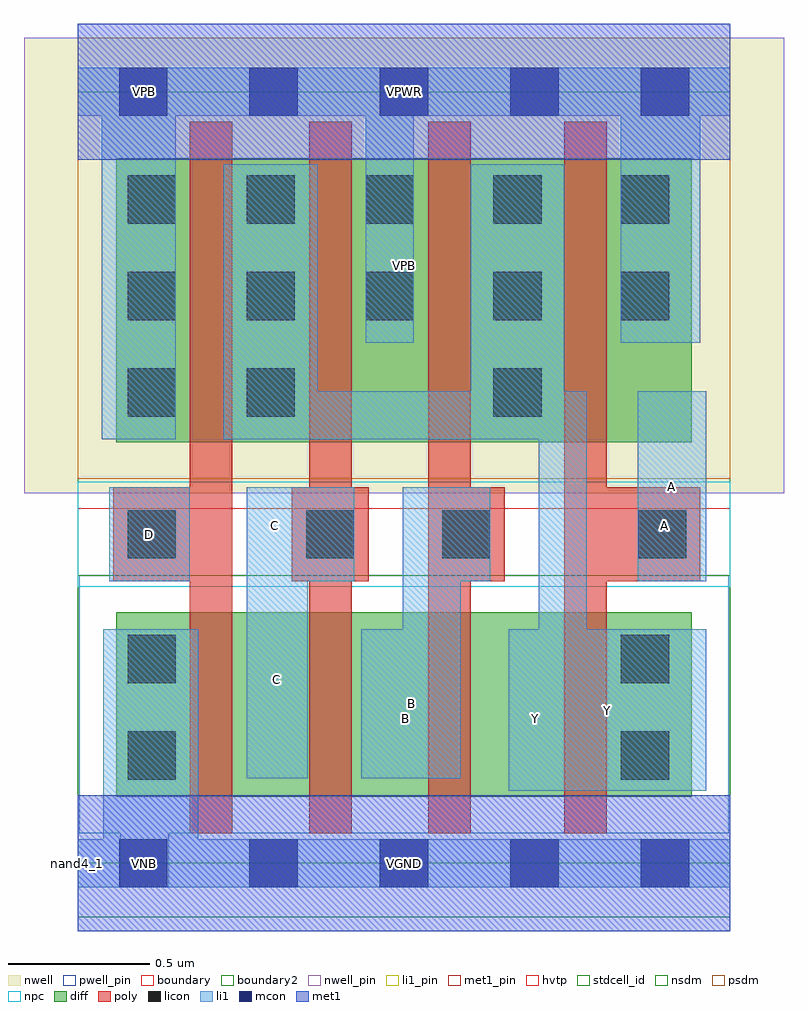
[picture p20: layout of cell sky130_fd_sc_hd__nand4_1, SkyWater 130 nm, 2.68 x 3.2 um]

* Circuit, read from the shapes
.subckt sky130_fd_sc_hd__nand4_1 A B C D VGND VNB VPB VPWR Y
XM1 n1 D VGND VNB sky130_fd_pr__nfet_01v8 w=0.65 l=0.15
XM2 n2 C n1 VNB sky130_fd_pr__nfet_01v8 w=0.65 l=0.15
XM3 n3 B n2 VNB sky130_fd_pr__nfet_01v8 w=0.65 l=0.15
XM4 Y A n3 VNB sky130_fd_pr__nfet_01v8 w=0.65 l=0.15
XM5 Y D VPWR VPB sky130_fd_pr__pfet_01v8_hvt w=1 l=0.15
XM6 VPWR C Y VPB sky130_fd_pr__pfet_01v8_hvt w=1 l=0.15
XM7 Y B VPWR VPB sky130_fd_pr__pfet_01v8_hvt w=1 l=0.15
XM8 VPWR A Y VPB sky130_fd_pr__pfet_01v8_hvt w=1 l=0.15
.ends

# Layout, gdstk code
import gdstk
lib = gdstk.Library(unit=1e-6, precision=1e-09)
def R(c, l, rs):  # rectangles x0, y0, x1, y1
    for r in rs: c.add(gdstk.rectangle(r[:2], r[2:], *l))
def A(c, l, x, y, w, h, nx, ny, dx, dy):  # array of equal rectangles
    R(c, l, [(x+i*dx, y+j*dy, x+i*dx+w, y+j*dy+h) for i in range(nx) for j in range(ny)])
def P(c, l, *ps):  # polygons
    for p in ps: c.add(gdstk.Polygon(p, *l))
nwell_pin = (64, 16)
nwell = (64, 20)
diff = (65, 20)
poly = (66, 20)
licon = (66, 44)
li1_pin = (67, 16)
li1 = (67, 20)
mcon = (67, 44)
met1_pin = (68, 16)
met1 = (68, 20)
hvtp = (78, 44)
stdcell_id = (81, 4)
nsdm = (93, 44)
psdm = (94, 20)
npc = (95, 20)
pwell_pin = (122, 16)
boundary = (235, 4)
boundary2 = (236, 0)

sky130_fd_sc_hd__nand4_1 = lib.new_cell('sky130_fd_sc_hd__nand4_1')
R(sky130_fd_sc_hd__nand4_1, nwell_pin, [(-0.19,1.305,2.49,2.91), (0.15,2.635,0.32,2.805)])
R(sky130_fd_sc_hd__nand4_1, nwell, [(-0.19,1.305,2.49,2.91)])
R(sky130_fd_sc_hd__nand4_1, diff, [(0.135,0.235,2.165,0.885), (0.135,1.485,2.165,2.485)])
P(sky130_fd_sc_hd__nand4_1, poly, [(0.815,0.105),(0.815,0.995),(0.755,0.995),(0.755,1.325),(0.815,1.325),(0.815,2.615),(0.965,2.615),(0.965,1.325),(1.025,1.325),(1.025,0.995),(0.965,0.995),(0.965,0.105)],
  [(1.715,0.105),(1.715,2.615),(1.865,2.615),(1.865,1.325),(2.195,1.325),(2.195,0.995),(1.865,0.995),(1.865,0.105)],
  [(1.235,0.105),(1.235,2.615),(1.385,2.615),(1.385,1.325),(1.505,1.325),(1.505,0.995),(1.385,0.995),(1.385,0.105)],
  [(0.395,0.105),(0.395,0.995),(0.125,0.995),(0.125,1.325),(0.395,1.325),(0.395,2.615),(0.545,2.615),(0.545,0.105)])
A(sky130_fd_sc_hd__nand4_1, licon, 1.465, 1.575, 0.17, 0.17, 1, 3, 0, 0.34)
A(sky130_fd_sc_hd__nand4_1, licon, 0.175, 1.915, 0.17, 0.17, 3, 2, 0.42, 0.34)
R(sky130_fd_sc_hd__nand4_1, licon, [(0.175,0.295,0.345,0.465), (1.915,0.295,2.085,0.465), (0.175,0.635,0.345,0.805), (1.915,0.635,2.085,0.805), (0.175,1.075,0.345,1.245), (0.805,1.075,0.975,1.245), (1.285,1.075,1.455,1.245), (1.975,1.075,2.145,1.245), (0.175,1.575,0.345,1.745), (0.595,1.575,0.765,1.745), (1.915,1.915,2.085,2.085), (1.915,2.255,2.085,2.425)])
A(sky130_fd_sc_hd__nand4_1, li1_pin, 0.61, 0.425, 0.17, 0.17, 3, 1, 0.46, 0)
R(sky130_fd_sc_hd__nand4_1, li1_pin, [(1.52,0.255,2.215,0.825), (0.595,0.3,0.81,0.995), (1,0.3,1.35,0.825), (0.61,0.765,0.78,0.935), (1.145,0.825,1.35,0.995), (1.625,0.825,1.795,1.495), (0.11,0.995,0.395,1.325), (0.595,0.995,0.975,1.325), (1.145,0.995,1.455,1.325), (1.975,0.995,2.215,1.665), (0.15,1.105,0.32,1.275), (0.61,1.105,0.78,1.275), (1.985,1.105,2.155,1.275), (1.99,1.445,2.16,1.615), (0.515,1.495,1.795,1.665), (0.515,1.665,0.845,2.465), (1.385,1.665,1.715,2.465)])
R(sky130_fd_sc_hd__nand4_1, li1, [(0.11,0.995,0.395,1.325), (1.975,0.995,2.215,1.665)])
P(sky130_fd_sc_hd__nand4_1, li1, [(1.52,0.255),(1.52,0.825),(1.625,0.825),(1.625,1.495),(0.515,1.495),(0.515,2.465),(0.845,2.465),(0.845,1.665),(1.385,1.665),(1.385,2.465),(1.715,2.465),(1.715,1.665),(1.795,1.665),(1.795,0.825),(2.215,0.825),(2.215,0.255)],
  [(0,-0.085),(0,0.085),(0.09,0.085),(0.09,0.825),(0.425,0.825),(0.425,0.085),(2.3,0.085),(2.3,-0.085)],
  [(1,0.3),(1,0.825),(1.145,0.825),(1.145,1.325),(1.455,1.325),(1.455,0.995),(1.35,0.995),(1.35,0.3)],
  [(0.085,1.495),(0.085,2.635),(0,2.635),(0,2.805),(2.3,2.805),(2.3,2.635),(2.195,2.635),(2.195,1.835),(1.915,1.835),(1.915,2.635),(1.185,2.635),(1.185,1.835),(1.015,1.835),(1.015,2.635),(0.345,2.635),(0.345,1.495)],
  [(0.595,0.3),(0.595,1.325),(0.975,1.325),(0.975,0.995),(0.81,0.995),(0.81,0.3)])
A(sky130_fd_sc_hd__nand4_1, mcon, 0.145, -0.085, 0.17, 0.17, 5, 2, 0.46, 2.72)
R(sky130_fd_sc_hd__nand4_1, met1_pin, [(0,-0.24,2.3,0.24), (0.15,-0.085,0.32,0.085), (0,2.48,2.3,2.96), (0.15,2.635,0.32,2.805)])
R(sky130_fd_sc_hd__nand4_1, met1, [(0,-0.24,2.3,0.24), (0,2.48,2.3,2.96)])
R(sky130_fd_sc_hd__nand4_1, hvtp, [(0,1.25,2.3,2.72)])
R(sky130_fd_sc_hd__nand4_1, stdcell_id, [(0,0,2.3,2.72)])
R(sky130_fd_sc_hd__nand4_1, nsdm, [(0,-0.19,2.3,1.015)])
R(sky130_fd_sc_hd__nand4_1, psdm, [(0,1.355,2.3,2.91)])
R(sky130_fd_sc_hd__nand4_1, npc, [(0,0.975,2.3,1.345)])
R(sky130_fd_sc_hd__nand4_1, pwell_pin, [(0.15,-0.085,0.32,0.085), (0.15,-0.085,0.32,0.105), (0.005,0.105,2.295,1.015)])
R(sky130_fd_sc_hd__nand4_1, boundary, [(0,0,2.3,2.72)])
R(sky130_fd_sc_hd__nand4_1, boundary2, [(0,0,2.3,2.72)])
sky130_fd_sc_hd__nand4_1.add(gdstk.FlexPath([(0,2.72),(2.3,2.72)], 0.48, ends="flush", simple_path=True, layer=68, datatype=20))  # met1
sky130_fd_sc_hd__nand4_1.add(gdstk.FlexPath([(0,0),(2.3,0)], 0.48, ends="flush", simple_path=True, layer=68, datatype=20))  # met1
sky130_fd_sc_hd__nand4_1.add(gdstk.Label('A', (2.095,1.33), layer=67, texttype=5))
sky130_fd_sc_hd__nand4_1.add(gdstk.Label('B', (1.175,0.562), layer=67, texttype=5))
sky130_fd_sc_hd__nand4_1.add(gdstk.Label('C', (0.702,0.647), layer=67, texttype=5))
sky130_fd_sc_hd__nand4_1.add(gdstk.Label('D', (0.252,1.16), layer=67, texttype=5))
sky130_fd_sc_hd__nand4_1.add(gdstk.Label('Y', (1.867,0.54), layer=67, texttype=5))
sky130_fd_sc_hd__nand4_1.add(gdstk.Label('C', (0.695,1.19), layer=67, texttype=5))
sky130_fd_sc_hd__nand4_1.add(gdstk.Label('B', (1.155,0.51), layer=67, texttype=5))
sky130_fd_sc_hd__nand4_1.add(gdstk.Label('Y', (1.615,0.51), layer=67, texttype=5))
sky130_fd_sc_hd__nand4_1.add(gdstk.Label('D', (0.235,1.19), layer=67, texttype=5))
sky130_fd_sc_hd__nand4_1.add(gdstk.Label('A', (2.07,1.19), layer=67, texttype=5))
sky130_fd_sc_hd__nand4_1.add(gdstk.Label('VNB', (0.235,0), layer=64, texttype=59))
sky130_fd_sc_hd__nand4_1.add(gdstk.Label('VPB', (1.15,2.107), layer=64, texttype=5))
sky130_fd_sc_hd__nand4_1.add(gdstk.Label('VPB', (0.235,2.72), layer=64, texttype=5))
sky130_fd_sc_hd__nand4_1.add(gdstk.Label('VGND', (1.15,0), layer=68, texttype=5))
sky130_fd_sc_hd__nand4_1.add(gdstk.Label('VPWR', (1.15,2.72), layer=68, texttype=5))
sky130_fd_sc_hd__nand4_1.add(gdstk.Label('VPWR', (0.235,2.72), layer=68, texttype=5))
sky130_fd_sc_hd__nand4_1.add(gdstk.Label('VGND', (0.235,0), layer=68, texttype=5))
sky130_fd_sc_hd__nand4_1.add(gdstk.Label('nand4_1', (0,0), layer=83, texttype=44))
sky130_fd_sc_hd__nand4_1.add(gdstk.Label('VNB', (0.235,0.01), layer=122, texttype=5))

lib.write_gds('sky130_fd_sc_hd__nand4_1.gds')
